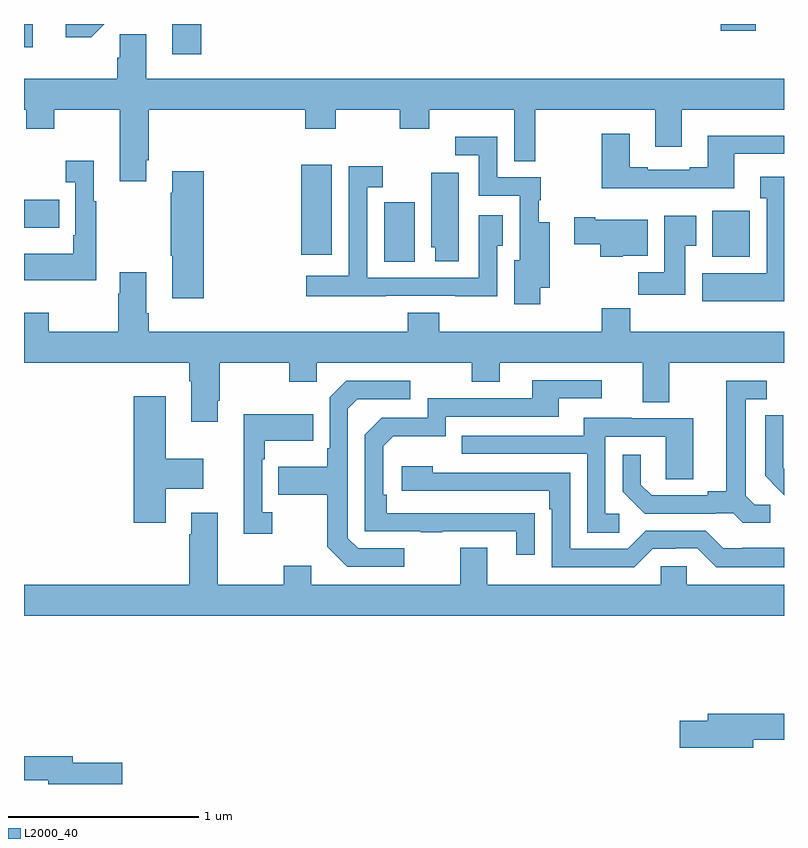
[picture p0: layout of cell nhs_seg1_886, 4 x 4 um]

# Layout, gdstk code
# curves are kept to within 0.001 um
import gdstk
lib = gdstk.Library(unit=1e-6, precision=1e-09)
def R(c, l, rs):  # rectangles x0, y0, x1, y1
    for r in rs: c.add(gdstk.rectangle(r[:2], r[2:], *l))
def P(c, l, *ps):  # polygons
    for p in ps: c.add(gdstk.Polygon(p, *l))
L2000_40 = (2000, 40)

nhs_seg1_886 = lib.new_cell('nhs_seg1_886')
R(nhs_seg1_886, L2000_40, [(160.895,534.949,161.056,535.26), (162.623,534.974,162.82,535.216), (160.46,534.984,160.621,535.459), (159,535.127,159.185,535.275), (159.779,536.04,159.932,536.199), (159,536.076,159.046,536.199), (162.668,536.163,162.851,536.199)])
P(nhs_seg1_886, L2000_40, [(159.423,536.199),(159.219,536.199),(159.219,536.13),(159.354,536.13)],
  [(159.643,535.483),(159.656,535.483),(159.656,535.748),(160.481,535.748),(160.481,535.649),(160.641,535.649),(160.641,535.748),(160.978,535.748),(160.978,535.649),(161.133,535.649),(161.133,535.748),(161.579,535.748),(161.579,535.477),(161.69,535.477),(161.69,535.748),(162.323,535.748),(162.323,535.554),(162.463,535.554),(162.463,535.748),(163,535.748),(163,535.912),(159.643,535.912),(159.643,536.144),(159.504,536.144),(159.504,536.022),(159.491,536.022),(159.491,535.912),(159,535.912),(159,535.748),(159.011,535.748),(159.011,535.649),(159.159,535.649),(159.159,535.748),(159.503,535.748),(159.503,535.371),(159.643,535.371)],
  [(162.739,535.515),(163,535.515),(163,535.612),(162.599,535.612),(162.599,535.444),(162.503,535.444),(162.503,535.431),(162.283,535.431),(162.283,535.444),(162.187,535.444),(162.187,535.621),(162.04,535.621),(162.04,535.334),(162.739,535.334)],
  [(161.718,534.812),(161.767,534.812),(161.767,535.156),(161.71,535.156),(161.71,535.271),(161.72,535.271),(161.72,535.392),(161.49,535.392),(161.49,535.606),(161.271,535.606),(161.271,535.509),(161.394,535.509),(161.394,535.296),(161.609,535.296),(161.609,534.955),(161.579,534.955),(161.579,534.723),(161.718,534.723)],
  [(159.379,535.267),(159.367,535.267),(159.367,535.48),(159.219,535.48),(159.219,535.367),(159.27,535.367),(159.27,535.087),(159.258,535.087),(159.258,534.991),(159.001,534.991),(159.001,534.851),(159.379,534.851)],
  [(160.903,534.768),(161.269,534.768),(161.269,534.767),(161.49,534.767),(161.49,535.033),(161.521,535.033),(161.521,535.192),(161.394,535.192),(161.394,534.864),(160.806,534.864),(160.806,535.341),(160.888,535.341),(160.888,535.45),(160.71,535.45),(160.71,534.874),(160.485,534.874),(160.485,534.767),(160.903,534.767)],
  [(159.947,535.423),(159.779,535.423),(159.779,535.31),(159.772,535.31),(159.772,534.979),(159.779,534.979),(159.779,534.756),(159.947,534.756)],
  [(161.287,535.417),(161.144,535.417),(161.144,535.023),(161.165,535.023),(161.165,534.951),(161.287,534.951)],
  [(163,535.396),(162.875,535.396),(162.875,535.283),(162.908,535.283),(162.908,534.886),(162.569,534.886),(162.569,534.74),(163,534.74)],
  [(162.481,535.033),(162.538,535.033),(162.538,535.189),(162.371,535.189),(162.371,534.892),(162.232,534.892),(162.232,534.774),(162.481,534.774)],
  [(162.15,534.98),(162.283,534.98),(162.283,535.168),(162.007,535.168),(162.007,535.181),(161.895,535.181),(161.895,535.039),(162.032,535.039),(162.032,534.974),(162.15,534.974)],
  [(160.021,534.217),(160.029,534.217),(160.029,534.416),(160.396,534.416),(160.396,534.317),(160.542,534.317),(160.542,534.416),(161.356,534.416),(161.356,534.317),(161.503,534.317),(161.503,534.416),(162.257,534.416),(162.257,534.208),(162.397,534.208),(162.397,534.416),(163,534.416),(163,534.58),(162.191,534.58),(162.191,534.704),(162.04,534.704),(162.04,534.58),(161.186,534.58),(161.186,534.679),(161.021,534.679),(161.021,534.58),(159.656,534.58),(159.656,534.676),(159.643,534.676),(159.643,534.892),(159.503,534.892),(159.503,534.779),(159.496,534.779),(159.496,534.58),(159.129,534.58),(159.129,534.679),(159,534.679),(159,534.416),(159.869,534.416),(159.869,534.32),(159.881,534.32),(159.881,534.105),(160.021,534.105)],
  [(161.687,533.624),(160.91,533.625),(160.91,533.722),(160.89,533.722),(160.89,533.976),(160.943,534.029),(161.22,534.029),(161.22,534.132),(161.815,534.132),(161.815,534.228),(162.04,534.228),(162.04,534.324),(161.675,534.324),(161.675,534.228),(161.124,534.228),(161.124,534.126),(160.884,534.126),(160.794,534.036),(160.794,533.529),(161.089,533.529),(161.089,533.524),(161.201,533.524),(161.201,533.529),(161.591,533.529),(161.591,533.406),(161.687,533.406)],
  [(162.928,533.67),(162.846,533.67),(162.799,533.717),(162.799,534.225),(162.91,534.225),(162.91,534.321),(162.695,534.321),(162.695,533.741),(162.599,533.741),(162.599,533.718),(162.304,533.718),(162.247,533.775),(162.247,533.932),(162.15,533.932),(162.15,533.738),(162.266,533.622),(162.638,533.622),(162.638,533.625),(162.732,533.625),(162.784,533.573),(162.928,533.573)],
  [(161.002,533.439),(160.758,533.439),(160.704,533.493),(160.704,534.174),(160.755,534.225),(161.032,534.225),(161.032,534.321),(160.695,534.321),(160.608,534.234),(160.608,533.965),(160.596,533.965),(160.596,533.869),(160.339,533.869),(160.339,533.722),(160.596,533.722),(160.596,533.449),(160.701,533.343),(161.002,533.343)],
  [(159.745,533.753),(159.943,533.753),(159.943,533.911),(159.745,533.911),(159.745,534.241),(159.578,534.241),(159.578,533.574),(159.745,533.574)],
  [(160.306,533.63),(160.254,533.63),(160.254,533.909),(160.267,533.909),(160.267,534.005),(160.523,534.005),(160.523,534.145),(160.157,534.145),(160.157,533.517),(160.306,533.517)],
  [(163,533.859),(162.995,533.864),(162.995,533.986),(162.996,533.986),(162.996,534.14),(162.9,534.14),(162.9,533.822),(162.973,533.749),(162.972,533.748),(163,533.72)],
  [(162.133,533.622),(162.06,533.622),(162.06,534.027),(162.378,534.027),(162.378,533.803),(162.523,533.803),(162.523,534.123),(162.199,534.123),(162.199,534.127),(161.945,534.127),(161.945,534.033),(161.305,534.033),(161.305,533.937),(161.964,533.937),(161.964,533.521),(162.133,533.521)],
  [(163,533.443),(162.781,533.443),(162.781,533.439),(162.681,533.439),(162.588,533.532),(162.273,533.532),(162.177,533.436),(161.874,533.436),(161.874,533.838),(161.15,533.838),(161.15,533.872),(160.989,533.872),(160.989,533.742),(161.765,533.742),(161.765,533.645),(161.778,533.645),(161.778,533.34),(162.213,533.34),(162.309,533.436),(162.428,533.436),(162.428,533.439),(162.543,533.439),(162.643,533.339),(163,533.339)],
  [(161.297,533.443),(161.297,533.248),(160.513,533.248),(160.513,533.347),(160.366,533.347),(160.366,533.248),(160.021,533.248),(160.021,533.626),(159.881,533.626),(159.881,533.513),(159.869,533.513),(159.869,533.248),(159,533.248),(159,533.084),(163,533.084),(163,533.248),(162.489,533.248),(162.489,533.346),(162.351,533.346),(162.351,533.248),(161.437,533.248),(161.437,533.443)],
  [(162.838,532.432),(163,532.432),(163,532.568),(162.599,532.568),(162.599,532.532),(162.45,532.532),(162.45,532.39),(162.838,532.39)],
  [(159.517,532.31),(159.256,532.31),(159.256,532.346),(159,532.346),(159,532.218),(159.128,532.218),(159.128,532.199),(159.517,532.199)])

lib.write_gds('nhs_seg1_886.gds')
